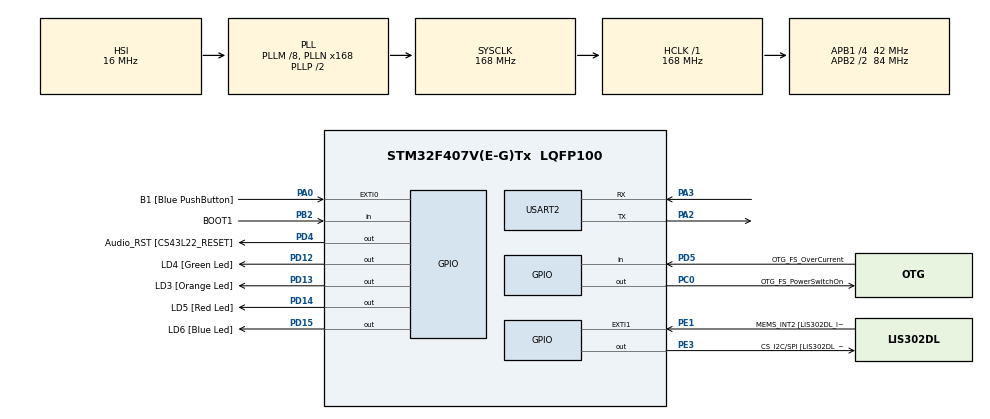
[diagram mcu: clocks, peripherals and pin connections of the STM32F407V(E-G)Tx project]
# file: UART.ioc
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Dma.MEMTOMEM.2.Direction=DMA_MEMORY_TO_MEMORY
Dma.MEMTOMEM.2.FIFOMode=DMA_FIFOMODE_ENABLE
Dma.MEMTOMEM.2.FIFOThreshold=DMA_FIFO_THRESHOLD_FULL
Dma.MEMTOMEM.2.Instance=DMA2_Stream0
Dma.MEMTOMEM.2.MemBurst=DMA_MBURST_SINGLE
Dma.MEMTOMEM.2.MemDataAlignment=DMA_MDATAALIGN_BYTE
Dma.MEMTOMEM.2.MemInc=DMA_MINC_ENABLE
Dma.MEMTOMEM.2.Mode=DMA_NORMAL
Dma.MEMTOMEM.2.PeriphBurst=DMA_PBURST_SINGLE
Dma.MEMTOMEM.2.PeriphDataAlignment=DMA_PDATAALIGN_BYTE
Dma.MEMTOMEM.2.PeriphInc=DMA_PINC_ENABLE
Dma.MEMTOMEM.2.Priority=DMA_PRIORITY_LOW
Dma.Request0=USART2_RX
Dma.Request1=USART2_TX
Dma.Request2=MEMTOMEM
Dma.USART2_RX.0.Direction=DMA_PERIPH_TO_MEMORY
Dma.USART2_RX.0.FIFOMode=DMA_FIFOMODE_DISABLE
Dma.USART2_RX.0.Instance=DMA1_Stream5
Dma.USART2_RX.0.MemDataAlignment=DMA_MDATAALIGN_BYTE
Dma.USART2_RX.0.MemInc=DMA_MINC_ENABLE
Dma.USART2_RX.0.Mode=DMA_NORMAL
Dma.USART2_RX.0.PeriphDataAlignment=DMA_PDATAALIGN_BYTE
Dma.USART2_RX.0.PeriphInc=DMA_PINC_DISABLE
Dma.USART2_RX.0.Priority=DMA_PRIORITY_LOW
Dma.USART2_TX.1.Direction=DMA_MEMORY_TO_PERIPH
Dma.USART2_TX.1.FIFOMode=DMA_FIFOMODE_DISABLE
Dma.USART2_TX.1.Instance=DMA1_Stream6
Dma.USART2_TX.1.MemDataAlignment=DMA_MDATAALIGN_BYTE
Dma.USART2_TX.1.MemInc=DMA_MINC_ENABLE
Dma.USART2_TX.1.Mode=DMA_NORMAL
Dma.USART2_TX.1.PeriphDataAlignment=DMA_PDATAALIGN_BYTE
Dma.USART2_TX.1.PeriphInc=DMA_PINC_DISABLE
Dma.USART2_TX.1.Priority=DMA_PRIORITY_LOW
Mcu.Family=STM32F4
Mcu.Name=STM32F407V(E-G)Tx
Mcu.Package=LQFP100
NVIC.DMA1_Stream5_IRQn=true\:0\:0\:false\:false\:true
NVIC.DMA1_Stream6_IRQn=true\:0\:0\:false\:false\:true
NVIC.PriorityGroup=NVIC_PRIORITYGROUP_0
PA0-WKUP.GPIO_Label=B1 [Blue PushButton]
PA0-WKUP.GPIO_ModeDefaultEXTI=GPIO_MODE_EVT_RISING
PA0-WKUP.GPIO_PuPd=GPIO_NOPULL
PA0-WKUP.Signal=GPXTI0
PA10.GPIO_Label=OTG_FS_ID
PA10.GPIO_Mode=GPIO_MODE_AF_PP
PA10.GPIO_PuPd=GPIO_NOPULL
PA10.GPIO_Speed=GPIO_SPEED_FREQ_LOW
PA10.Signal=USB_OTG_FS_ID
PA11.GPIO_Label=OTG_FS_DM
PA11.GPIO_Mode=GPIO_MODE_AF_PP
PA11.GPIO_PuPd=GPIO_NOPULL
PA11.GPIO_Speed=GPIO_SPEED_FREQ_LOW
PA11.Signal=USB_OTG_FS_DM
PA12.GPIO_Label=OTG_FS_DP
PA12.GPIO_Mode=GPIO_MODE_AF_PP
PA12.GPIO_PuPd=GPIO_NOPULL
PA12.GPIO_Speed=GPIO_SPEED_FREQ_LOW
PA12.Signal=USB_OTG_FS_DP
PA13.GPIO_Label=SWDIO
PA13.Signal=SYS_JTMS-SWDIO
PA14.GPIO_Label=SWCLK
PA14.Signal=SYS_JTCK-SWCLK
PA2.Mode=Asynchronous
PA2.Signal=USART2_TX
PA3.Mode=Asynchronous
PA3.Signal=USART2_RX
PA4.GPIO_Label=I2S3_WS [CS43L22_LRCK]
PA4.GPIO_Mode=GPIO_MODE_AF_PP
PA4.GPIO_PuPd=GPIO_NOPULL
PA4.GPIO_Speed=GPIO_SPEED_FREQ_LOW
PA4.Signal=I2S3_WS
PA5.GPIO_Label=SPI1_SCK [LIS302DL_SCL/SPC]
PA5.GPIO_Mode=GPIO_MODE_AF_PP
PA5.GPIO_PuPd=GPIO_NOPULL
PA5.GPIO_Speed=GPIO_SPEED_FREQ_LOW
PA5.Signal=SPI1_SCK
PA6.GPIO_Label=SPI1_MISO [LIS302DL_SDO]
PA6.GPIO_Mode=GPIO_MODE_AF_PP
PA6.GPIO_PuPd=GPIO_NOPULL
PA6.GPIO_Speed=GPIO_SPEED_FREQ_LOW
PA6.Signal=SPI1_MISO
PA7.GPIO_Label=SPI1_MOSI [LIS302DL_SDA/SDI/SDO]
PA7.GPIO_Mode=GPIO_MODE_AF_PP
PA7.GPIO_PuPd=GPIO_NOPULL
PA7.GPIO_Speed=GPIO_SPEED_FREQ_LOW
PA7.Signal=SPI1_MOSI
PA9.GPIO_Label=VBUS_FS
PA9.GPIO_Mode=GPIO_MODE_INPUT
PA9.GPIO_PuPd=GPIO_NOPULL
PA9.Signal=USB_OTG_FS_VBUS
PB10.GPIO_Label=CLK_IN [MP45DT02_CLK]
PB10.GPIO_Mode=GPIO_MODE_AF_PP
PB10.GPIO_PuPd=GPIO_NOPULL
PB10.GPIO_Speed=GPIO_SPEED_FREQ_LOW
PB10.Signal=I2S2_CK
PB2.GPIO_Label=BOOT1
PB2.GPIO_Mode=GPIO_MODE_INPUT
PB2.GPIO_PuPd=GPIO_NOPULL
PB2.Signal=GPIO_Input
PB3.GPIO_Label=SWO
PB3.Signal=SYS_JTDO-SWO
PB6.GPIO_Label=Audio_SCL [CS43L22_SCL]
PB6.GPIO_Mode=GPIO_MODE_AF_OD
PB6.GPIO_PuPd=GPIO_NOPULL
PB6.GPIO_Speed=GPIO_SPEED_FREQ_LOW
PB6.Signal=I2C1_SCL
PB9.GPIO_Label=Audio_SDA [CS43L22_SDA]
PB9.GPIO_Mode=GPIO_MODE_AF_OD
PB9.GPIO_PuPd=GPIO_NOPULL
PB9.GPIO_Speed=GPIO_SPEED_FREQ_LOW
PB9.Signal=I2C1_SDA
PC0.GPIO_Label=OTG_FS_PowerSwitchOn
PC0.GPIO_PuPd=GPIO_NOPULL
PC0.GPIO_Speed=GPIO_SPEED_FREQ_LOW
PC0.Signal=GPIO_Output
PC10.GPIO_Label=I2S3_SCK [CS43L22_SCLK]
PC10.GPIO_Mode=GPIO_MODE_AF_PP
PC10.GPIO_PuPd=GPIO_NOPULL
PC10.GPIO_Speed=GPIO_SPEED_FREQ_LOW
PC10.Signal=I2S3_CK
PC12.GPIO_Label=I2S3_SD [CS43L22_SDIN]
PC12.GPIO_Mode=GPIO_MODE_AF_PP
PC12.GPIO_PuPd=GPIO_NOPULL
PC12.GPIO_Speed=GPIO_SPEED_FREQ_LOW
PC12.Signal=I2S3_SD
PC14-OSC32_IN.GPIO_Label=PC14-OSC32_IN
PC14-OSC32_IN.Signal=RCC_OSC32_IN
PC15-OSC32_OUT.GPIO_Label=PC15-OSC32_OUT
PC15-OSC32_OUT.Signal=RCC_OSC32_OUT
PC3.GPIO_Label=PDM_OUT [MP45DT02_DOUT]
PC3.GPIO_Mode=GPIO_MODE_AF_PP
PC3.GPIO_PuPd=GPIO_NOPULL
PC3.GPIO_Speed=GPIO_SPEED_FREQ_LOW
PC3.Signal=I2S2_SD
PC7.GPIO_Label=I2S3_MCK [CS43L22_MCLK]
PC7.GPIO_Mode=GPIO_MODE_AF_PP
PC7.GPIO_PuPd=GPIO_NOPULL
PC7.GPIO_Speed=GPIO_SPEED_FREQ_LOW
PC7.Signal=I2S3_MCK
PD12.GPIO_Label=LD4 [Green Led]
PD12.GPIO_PuPd=GPIO_NOPULL
PD12.GPIO_Speed=GPIO_SPEED_FREQ_LOW
PD12.Signal=GPIO_Output
PD13.GPIO_Label=LD3 [Orange Led]
PD13.GPIO_PuPd=GPIO_NOPULL
PD13.GPIO_Speed=GPIO_SPEED_FREQ_LOW
PD13.Signal=GPIO_Output
PD14.GPIO_Label=LD5 [Red Led]
PD14.GPIO_PuPd=GPIO_NOPULL
PD14.GPIO_Speed=GPIO_SPEED_FREQ_LOW
PD14.Signal=GPIO_Output
PD15.GPIO_Label=LD6 [Blue Led]
PD15.GPIO_PuPd=GPIO_NOPULL
PD15.GPIO_Speed=GPIO_SPEED_FREQ_LOW
PD15.Signal=GPIO_Output
PD4.GPIO_Label=Audio_RST [CS43L22_RESET]
PD4.GPIO_PuPd=GPIO_NOPULL
PD4.GPIO_Speed=GPIO_SPEED_FREQ_LOW
PD4.Signal=GPIO_Output
PD5.GPIO_Label=OTG_FS_OverCurrent
PD5.GPIO_Mode=GPIO_MODE_INPUT
PD5.GPIO_PuPd=GPIO_NOPULL
PD5.Signal=GPIO_Input
PE1.GPIO_Label=MEMS_INT2 [LIS302DL_INT2]
PE1.GPIO_ModeDefaultEXTI=GPIO_MODE_EVT_RISING
PE1.GPIO_PuPd=GPIO_NOPULL
PE1.Signal=GPXTI1
PE3.GPIO_Label=CS_I2C/SPI [LIS302DL_CS_I2C/SPI]
PE3.GPIO_PuPd=GPIO_NOPULL
PE3.GPIO_Speed=GPIO_SPEED_FREQ_LOW
PE3.Signal=GPIO_Output
PH0-OSC_IN.GPIO_Label=PH0-OSC_IN
PH0-OSC_IN.Signal=RCC_OSC_IN
PH1-OSC_OUT.GPIO_Label=PH1-OSC_OUT
PH1-OSC_OUT.Signal=RCC_OSC_OUT
ProjectManager.HeapSize=0x200
ProjectManager.StackSize=0x400
ProjectManager.TargetToolchain=TrueSTUDIO
RCC.48MHZClocksFreq_Value=48000000
RCC.AHBFreq_Value=168000000
RCC.APB1CLKDivider=RCC_HCLK_DIV4
RCC.APB1Freq_Value=42000000
RCC.APB1TimFreq_Value=84000000
RCC.APB2CLKDivider=RCC_HCLK_DIV2
RCC.APB2Freq_Value=84000000
RCC.APB2TimFreq_Value=168000000
RCC.CortexFreq_Value=168000000
RCC.HCLKFreq_Value=168000000
RCC.HSE_VALUE=8000000
RCC.HSI_VALUE=16000000
RCC.LSE_VALUE=32768
RCC.PLLM=8
RCC.PLLN=168
RCC.PLLQ=7
RCC.SYSCLKFreq_VALUE=168000000
RCC.SYSCLKSource=RCC_SYSCLKSOURCE_PLLCLK
RCC.VCOOutputFreq_Value=336000000
USART2.Parity=UART_PARITY_NONE
board=STM32F4DISCOVERY

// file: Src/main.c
/**
  ******************************************************************************
  * File Name          : main.c
  * Description        : Main program body
  ******************************************************************************
  *
  * COPYRIGHT(c) 2016 STMicroelectronics
  *
  * Redistribution and use in source and binary forms, with or without modification,
  * are permitted provided that the following conditions are met:
  *   1. Redistributions of source code must retain the above copyright notice,
  *      this list of conditions and the following disclaimer.
  *   2. Redistributions in binary form must reproduce the above copyright notice,
  *      this list of conditions and the following disclaimer in the documentation
  *      and/or other materials provided with the distribution.
  *   3. Neither the name of STMicroelectronics nor the names of its contributors
  *      may be used to endorse or promote products derived from this software
  *      without specific prior written permission.
  *
  * THIS SOFTWARE IS PROVIDED BY THE COPYRIGHT HOLDERS AND CONTRIBUTORS "AS IS"
  * AND ANY EXPRESS OR IMPLIED WARRANTIES, INCLUDING, BUT NOT LIMITED TO, THE
  * IMPLIED WARRANTIES OF MERCHANTABILITY AND FITNESS FOR A PARTICULAR PURPOSE ARE
  * DISCLAIMED. IN NO EVENT SHALL THE COPYRIGHT HOLDER OR CONTRIBUTORS BE LIABLE
  * FOR ANY DIRECT, INDIRECT, INCIDENTAL, SPECIAL, EXEMPLARY, OR CONSEQUENTIAL
  * DAMAGES (INCLUDING, BUT NOT LIMITED TO, PROCUREMENT OF SUBSTITUTE GOODS OR
  * SERVICES; LOSS OF USE, DATA, OR PROFITS; OR BUSINESS INTERRUPTION) HOWEVER
  * CAUSED AND ON ANY THEORY OF LIABILITY, WHETHER IN CONTRACT, STRICT LIABILITY,
  * OR TORT (INCLUDING NEGLIGENCE OR OTHERWISE) ARISING IN ANY WAY OUT OF THE USE
  * OF THIS SOFTWARE, EVEN IF ADVISED OF THE POSSIBILITY OF SUCH DAMAGE.
  *
  ******************************************************************************
  */
#include "stm32f4xx_hal.h"
#include "dma.h"
#include "usart.h"
#include "gpio.h"

/* USER CODE BEGIN PV */
/* Private variables ---------------------------------------------------------*/

/* USER CODE END PV */

void SystemClock_Config(void);
void Error_Handler(void);

/* USER CODE BEGIN PFP */
/* Private function prototypes -----------------------------------------------*/

/* USER CODE END PFP */

int main(void)
{

  /* USER CODE BEGIN 1 */

  HAL_StatusTypeDef rx_status = HAL_ERROR;
  HAL_StatusTypeDef tx_status = HAL_ERROR;
  uint8_t i = 0;
  uint8_t rx_data[10] = {10, 10, 10, 10, 10, 10, 10, 10, 10, 10 };
  uint8_t tx_data[10] = {0, 1, 2, 3, 4, 5, 6, 7, 8, 9};

  /* USER CODE END 1 */

  /* MCU Configuration----------------------------------------------------------*/

  /* Reset of all peripherals, Initializes the Flash interface and the Systick. */
  HAL_Init();

  /* Configure the system clock */
  SystemClock_Config();

  /* Initialize all configured peripherals */
  MX_GPIO_Init();
  MX_DMA_Init();
  MX_USART2_UART_Init();

  /* USER CODE BEGIN 2 */

  rx_status = HAL_UART_Receive_DMA(&huart2, rx_data, 10);
  if(rx_status == HAL_OK)
  {
	  tx_status = HAL_UART_Transmit_DMA(&huart2, tx_data, 10);
	  if(tx_status == HAL_OK)
	  {
		  MX_USART2_UART_Init();
	  }
  }

  /* USER CODE END 2 */

  /* Infinite loop */
  /* USER CODE BEGIN WHILE */
	while (1)
	{
		i %= 10;
		if(tx_data[i] == rx_data[i])
		{
			uint8_t temp = rx_data[i];
			if(temp / 8 == 1)
				HAL_GPIO_WritePin(GPIOD, LD3_Pin, GPIO_PIN_SET);
			else
				HAL_GPIO_WritePin(GPIOD, LD3_Pin, GPIO_PIN_RESET);
			temp %= 8;

			if(temp / 4 == 1)
				HAL_GPIO_WritePin(GPIOD, LD5_Pin, GPIO_PIN_SET);
			else
				HAL_GPIO_WritePin(GPIOD, LD5_Pin, GPIO_PIN_RESET);
			temp %= 4;

			if(temp / 2 == 1)
				HAL_GPIO_WritePin(GPIOD, LD6_Pin, GPIO_PIN_SET);
			else
				HAL_GPIO_WritePin(GPIOD, LD6_Pin, GPIO_PIN_RESET);
			temp %= 2;

			if(temp == 1)
				HAL_GPIO_WritePin(GPIOD, LD4_Pin, GPIO_PIN_SET);
			else
				HAL_GPIO_WritePin(GPIOD, LD4_Pin, GPIO_PIN_RESET);

			i++;
		}

		HAL_Delay(500u);
	}
  /* USER CODE END WHILE */

}

/** System Clock Configuration
*/
void SystemClock_Config(void)
{

  RCC_OscInitTypeDef RCC_OscInitStruct;
  RCC_ClkInitTypeDef RCC_ClkInitStruct;

  __HAL_RCC_PWR_CLK_ENABLE();

  __HAL_PWR_VOLTAGESCALING_CONFIG(PWR_REGULATOR_VOLTAGE_SCALE1);

  RCC_OscInitStruct.OscillatorType = RCC_OSCILLATORTYPE_HSI;
  RCC_OscInitStruct.HSIState = RCC_HSI_ON;
  RCC_OscInitStruct.HSICalibrationValue = 16;
  RCC_OscInitStruct.PLL.PLLState = RCC_PLL_ON;
  RCC_OscInitStruct.PLL.PLLSource = RCC_PLLSOURCE_HSI;
  RCC_OscInitStruct.PLL.PLLM = 8;
  RCC_OscInitStruct.PLL.PLLN = 168;
  RCC_OscInitStruct.PLL.PLLP = RCC_PLLP_DIV2;
  RCC_OscInitStruct.PLL.PLLQ = 7;
  if (HAL_RCC_OscConfig(&RCC_OscInitStruct) != HAL_OK)
  {
    Error_Handler();
  }

  RCC_ClkInitStruct.ClockType = RCC_CLOCKTYPE_HCLK|RCC_CLOCKTYPE_SYSCLK
                              |RCC_CLOCKTYPE_PCLK1|RCC_CLOCKTYPE_PCLK2;
  RCC_ClkInitStruct.SYSCLKSource = RCC_SYSCLKSOURCE_PLLCLK;
  RCC_ClkInitStruct.AHBCLKDivider = RCC_SYSCLK_DIV1;
  RCC_ClkInitStruct.APB1CLKDivider = RCC_HCLK_DIV4;
  RCC_ClkInitStruct.APB2CLKDivider = RCC_HCLK_DIV2;
  if (HAL_RCC_ClockConfig(&RCC_ClkInitStruct, FLASH_LATENCY_5) != HAL_OK)
  {
    Error_Handler();
  }

  HAL_SYSTICK_Config(HAL_RCC_GetHCLKFreq()/1000);

  HAL_SYSTICK_CLKSourceConfig(SYSTICK_CLKSOURCE_HCLK);

  /* SysTick_IRQn interrupt configuration */
  HAL_NVIC_SetPriority(SysTick_IRQn, 0, 0);
}

void Error_Handler(void)
{
  while(1)
  {
  }
}

/************************ (C) COPYRIGHT STMicroelectronics *****END OF FILE****/
